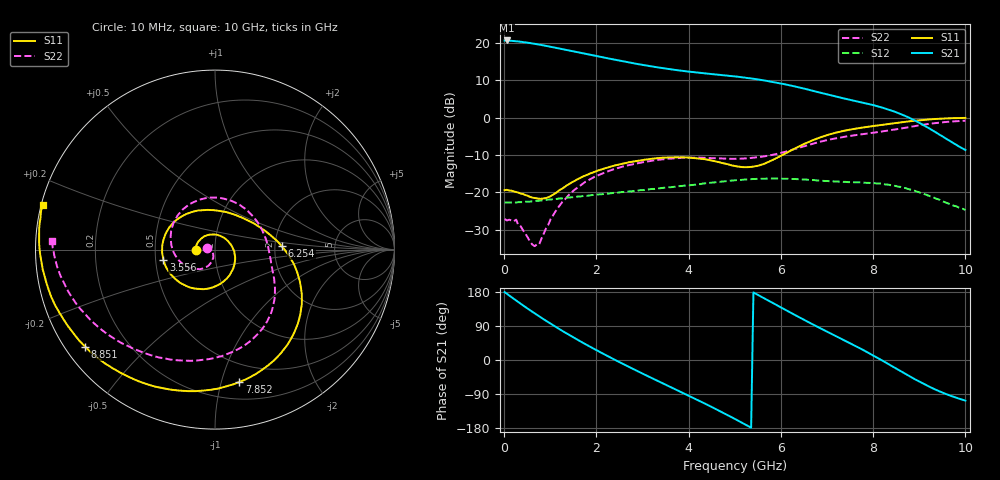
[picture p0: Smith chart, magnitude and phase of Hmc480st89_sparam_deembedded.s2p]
# MHZ S MA R 50
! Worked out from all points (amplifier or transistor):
!   201 points, 10 MHz to 10 GHz, reference 50 ohm
!   highest |S21| = 20.7 dB at 59.95 MHz (marker M1)
!   |S21| within 3 dB of that: start of sweep to 1.538 GHz
!   unconditionally stable (mu >= 1): start of sweep to 9.074 GHz
!   at 1.658 GHz: K = 1.08, MAG = 17.5 dB, |S12| = -21.1 dB
!   at 5.005 GHz: K = 1.12, MAG = 11.8 dB, |S12| = -16.8 dB
!   at 10 GHz: K = 0.96, MSG = 8.0 dB, |S12| = -24.7 dB
!   S11 on the Smith chart (normalised r, x): 10 MHz: 0.81, +0.00; 3.556 GHz: 0.55, -0.07; 6.254 GHz: 2.18, +0.09; 7.852 GHz: 0.34, -1.14; 8.851 GHz: 0.06, -0.33; 10 GHz: 0.00, +0.13
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10  0.107 180.0  10.81 179.3  0.073 0.4  0.044 168.0
59.95  0.108 173.3  10.82 174.6  0.073 -1.2  0.042 178.0
259.75  0.101 150.2  10.55 157.2  0.073 -5.0  0.043 171.0
459.55  0.092 120.9  10.22 139.8  0.075 -9.4  0.028 174.6
809.2  0.082 62.0  9.408 111.3  0.078 -17.5  0.024 -118.0
1158.85  0.102 1.3  8.54 84.4  0.082 -26.7  0.061 -103.1
1458.55  0.135 -36.3  7.829 62.7  0.086 -35.3  0.099 -113.1
1708.3  0.163 -59.3  7.299 45.4  0.089 -42.8  0.131 -125.0
2008  0.193 -81.2  6.695 25.5  0.093 -52.4  0.166 -140.5
2407.6  0.23 -106.3  5.957 0.1  0.099 -65.4  0.206 -161.3
2907.1  0.266 -134.5  5.21 -30.3  0.106 -82.7  0.246 172.7
3356.65  0.288 -158.2  4.684 -56.8  0.113 -99.1  0.273 148.7
3556.45  0.293 -168.4  4.499 -68.4  0.117 -106.7  0.282 137.6
4255.75  0.283 154.1  3.979 -109.3  0.129 -134.9  0.291 94.5
5005  0.225 100.6  3.564 -155.7  0.145 -169.6  0.281 37.8
5554.45  0.232 50.9  3.213 168.3  0.152 162.0  0.298 0.8
6253.75  0.373 2.8  2.663 122.1  0.151 124.2  0.373 -27.7
6703.3  0.502 -20.0  2.282 93.3  0.146 100.0  0.45 -43.8
7852.15  0.75 -79.6  1.55 22.0  0.134 37.8  0.611 -93.1
8351.65  0.825 -110.6  1.272 -12.2  0.126 6.5  0.677 -117.4
8851.15  0.903 -143.2  0.951 -47.2  0.107 -25.4  0.762 -141.7
10000  0.993 165.4  0.369 -107.2  0.058 -79.9  0.91 177.0
